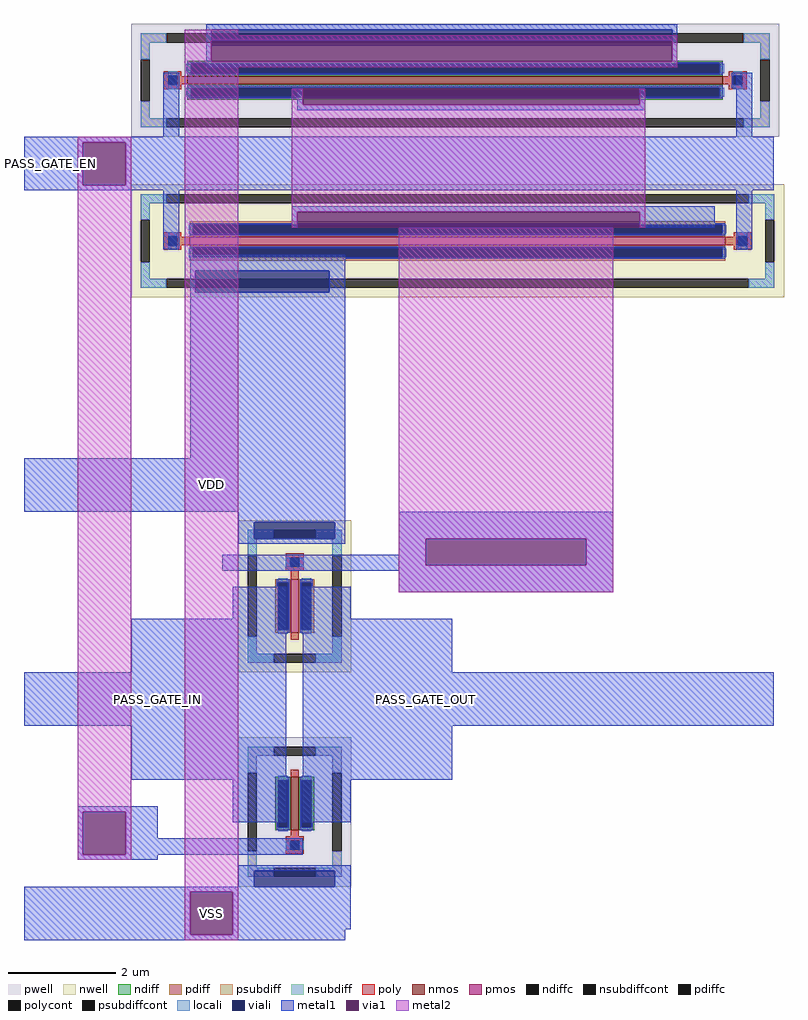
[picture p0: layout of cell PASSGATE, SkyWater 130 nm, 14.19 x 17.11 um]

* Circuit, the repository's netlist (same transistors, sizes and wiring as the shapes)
** sch_path: /home/ttuser/tt_analog_z2a/xschem/PASSGATE.sch
.subckt PASSGATE VDD PASS_GATE_IN VSS PASS_GATE_EN PASS_GATE_OUT
*.PININFO PASS_GATE_IN:B PASS_GATE_EN:I VDD:B VSS:B PASS_GATE_OUT:B
XM1pass PASS_GATE_ZEN PASS_GATE_EN VDD VDD sky130_fd_pr__pfet_01v8 L=0.15 W=10 nf=1 m=1
XM0pass PASS_GATE_ZEN PASS_GATE_EN VSS VSS sky130_fd_pr__nfet_01v8 L=0.15 W=10 nf=1 m=1
XM1 PASS_GATE_IN PASS_GATE_EN PASS_GATE_OUT VSS sky130_fd_pr__nfet_01v8 L=0.15 W=1 nf=1 m=1
XM2 PASS_GATE_OUT PASS_GATE_ZEN PASS_GATE_IN VDD sky130_fd_pr__pfet_01v8 L=0.15 W=1 nf=1 m=1
.ends
.end

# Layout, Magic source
magic
tech sky130A
magscale 1 2
<< viali >>
rect 1100 1740 2820 1800
rect 1040 820 1540 900
rect 1260 -100 1560 -40
rect 1260 -1400 1560 -1340
<< metal1 >>
rect 1080 1800 2840 1820
rect 1080 1680 1100 1800
rect 2820 1680 2840 1800
rect 1080 1660 2840 1680
rect 920 1400 980 1640
rect 1420 1520 1440 1580
rect 2700 1520 2720 1580
rect 1420 1500 2720 1520
rect 3060 1400 3120 1640
rect 400 1380 3200 1400
rect 400 1220 620 1380
rect 780 1220 3200 1380
rect 400 1200 3200 1220
rect 920 980 980 1200
rect 1400 1120 2980 1140
rect 1400 1060 1420 1120
rect 2700 1060 2980 1120
rect 3060 980 3120 1200
rect 1020 900 1600 960
rect 1020 820 1040 900
rect 1540 820 1600 900
rect 1020 200 1600 820
rect 400 0 1600 200
rect 1200 -40 1600 0
rect 1200 -100 1260 -40
rect 1560 -100 1600 -40
rect 1200 -120 1600 -100
rect 1800 -100 2600 0
rect 1800 -160 1900 -100
rect 1140 -200 1900 -160
rect 2500 -200 2600 -100
rect 1140 -220 2600 -200
rect 1180 -400 1380 -280
rect 800 -600 1380 -400
rect 400 -800 1380 -600
rect 800 -1000 1380 -800
rect 600 -1120 900 -1100
rect 600 -1280 620 -1120
rect 780 -1220 900 -1120
rect 1180 -1160 1380 -1000
rect 1440 -400 1620 -280
rect 1800 -300 2600 -220
rect 1440 -600 2000 -400
rect 1440 -800 3200 -600
rect 1440 -1000 2000 -800
rect 1440 -1160 1620 -1000
rect 780 -1280 1440 -1220
rect 600 -1300 900 -1280
rect 1200 -1340 1620 -1320
rect 1200 -1400 1260 -1340
rect 1560 -1400 1620 -1340
rect 400 -1420 1620 -1400
rect 400 -1580 1020 -1420
rect 1180 -1560 1620 -1420
rect 1180 -1580 1600 -1560
rect 400 -1600 1600 -1580
<< via1 >>
rect 1100 1740 2820 1760
rect 1100 1680 2820 1740
rect 1440 1520 2700 1580
rect 620 1220 780 1380
rect 1420 1060 2700 1120
rect 1900 -200 2500 -100
rect 620 -1280 780 -1120
rect 1020 -1580 1180 -1420
<< metal2 >>
rect 1000 1780 1200 1800
rect 1000 1760 2840 1780
rect 1000 1680 1100 1760
rect 2820 1680 2840 1760
rect 1000 1660 2840 1680
rect 600 1380 800 1400
rect 600 1220 620 1380
rect 780 1220 800 1380
rect 600 -1120 800 1220
rect 600 -1280 620 -1120
rect 780 -1280 800 -1120
rect 600 -1300 800 -1280
rect 1000 -1420 1200 1660
rect 1400 1520 1440 1580
rect 2700 1520 2720 1580
rect 1400 1120 2720 1520
rect 1400 1060 1420 1120
rect 2700 1060 2720 1120
rect 1800 -100 2600 1060
rect 1800 -200 1900 -100
rect 2500 -200 2600 -100
rect 1800 -300 2600 -200
rect 1000 -1580 1020 -1420
rect 1180 -1580 1200 -1420
rect 1000 -1600 1200 -1580
use sky130_fd_pr__nfet_01v8_64QSBY  sky130_fd_pr__nfet_01v8_64QSBY_0
transform 1 0 1411 0 1 -1121
box -211 -279 211 279
use sky130_fd_pr__pfet_01v8_MGS3BN  sky130_fd_pr__pfet_01v8_MGS3BN_0
transform 1 0 1411 0 1 -316
box -211 -284 211 284
use sky130_fd_pr__nfet_01v8_A5ES5P  XM0pass
transform 0 1 2010 -1 0 1611
box -211 -1210 211 1210
use sky130_fd_pr__pfet_01v8_XGA8MR  XM1pass
transform 0 1 2019 -1 0 1011
box -211 -1219 211 1219
<< labels >>
flabel metal1 1000 -1600 1200 -1400 0 FreeSans 256 0 0 0 VSS
port 2 nsew
flabel metal1 1000 0 1200 200 0 FreeSans 256 0 0 0 VDD
port 0 nsew
flabel metal1 800 -800 1000 -600 0 FreeSans 256 0 0 0 PASS_GATE_IN
port 1 nsew
flabel metal1 1800 -800 2000 -600 0 FreeSans 256 0 0 0 PASS_GATE_OUT
port 4 nsew
flabel metal1 400 1200 600 1400 0 FreeSans 256 0 0 0 PASS_GATE_EN
port 3 nsew
<< end >>

# cell sky130_fd_pr__nfet_01v8_64QSBY: kit device sky130_fd_pr__nfet_01v8, w 1.0 l 0.15 m 1 nf 1 diffcov 100 polycov 100 guard 1 glc 1 grc 1 gtc 1 gbc 1 tbcov 100 rlcov 100 topc 0 botc 1 poverlap 0 doverlap 1 lmin 0.15 wmin 0.42 compatible {sky130_fd_pr__nfet_01v8 sky130_fd_pr__nfet_01v8_lvt sky130_fd_bs_flash__special_sonosfet_star sky130_fd_pr__nfet_g5v0d10v5 sky130_fd_pr__nfet_05v0_nvt sky130_fd_pr__nfet_03v3_nvt} full_metal 1 viasrc 100 viadrn 100 viagate 100 viagb 0 viagr 0 viagl 0 viagt 0

# cell sky130_fd_pr__pfet_01v8_MGS3BN: kit device sky130_fd_pr__pfet_01v8, w 1.0 l 0.15 m 1 nf 1 diffcov 100 polycov 100 guard 1 glc 1 grc 1 gtc 1 gbc 1 tbcov 100 rlcov 100 topc 1 botc 0 poverlap 0 doverlap 1 lmin 0.15 wmin 0.42 compatible {sky130_fd_pr__pfet_01v8 sky130_fd_pr__pfet_01v8_lvt sky130_fd_pr__pfet_01v8_hvt sky130_fd_pr__pfet_g5v0d10v5} full_metal 1 viasrc 100 viadrn 100 viagate 100 viagb 0 viagr 0 viagl 0 viagt 0

# cell sky130_fd_pr__nfet_01v8_A5ES5P: kit device sky130_fd_pr__nfet_01v8, w 10.0 l 0.15 m 1 nf 1 diffcov 100 polycov 100 guard 1 glc 1 grc 1 gtc 1 gbc 1 tbcov 100 rlcov 100 topc 1 botc 1 poverlap 0 doverlap 1 lmin 0.15 wmin 0.42 compatible {sky130_fd_pr__nfet_01v8 sky130_fd_pr__nfet_01v8_lvt sky130_fd_bs_flash__special_sonosfet_star sky130_fd_pr__nfet_g5v0d10v5 sky130_fd_pr__nfet_05v0_nvt sky130_fd_pr__nfet_03v3_nvt} full_metal 1 viasrc 100 viadrn 100 viagate 100 viagb 0 viagr 0 viagl 0 viagt 0

# cell sky130_fd_pr__pfet_01v8_XGA8MR: kit device sky130_fd_pr__pfet_01v8, w 10.0 l 0.15 m 1 nf 1 diffcov 100 polycov 100 guard 1 glc 1 grc 1 gtc 1 gbc 1 tbcov 100 rlcov 100 topc 1 botc 1 poverlap 0 doverlap 1 lmin 0.15 wmin 0.42 compatible {sky130_fd_pr__pfet_01v8 sky130_fd_pr__pfet_01v8_lvt sky130_fd_pr__pfet_01v8_hvt sky130_fd_pr__pfet_g5v0d10v5} full_metal 1 viasrc 100 viadrn 100 viagate 100 viagb 0 viagr 0 viagl 0 viagt 0
